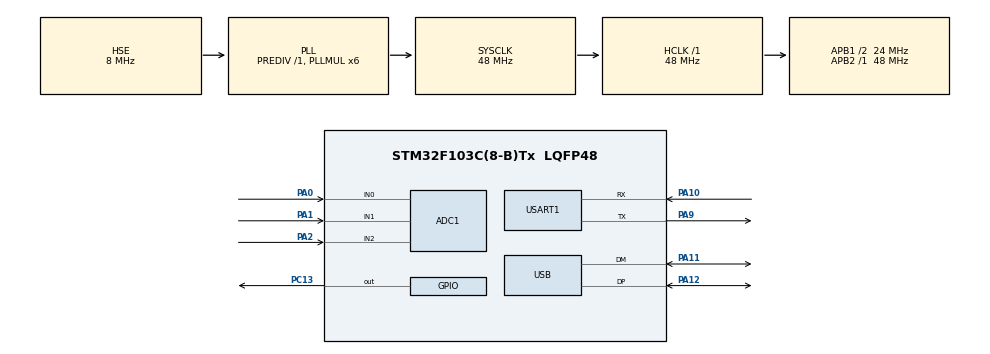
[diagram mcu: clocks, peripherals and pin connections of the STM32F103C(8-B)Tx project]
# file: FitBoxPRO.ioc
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ADC1.Channel-3\#ChannelRegularConversion=ADC_CHANNEL_0
ADC1.Channel-4\#ChannelRegularConversion=ADC_CHANNEL_1
ADC1.Channel-5\#ChannelRegularConversion=ADC_CHANNEL_2
ADC1.ContinuousConvMode=ENABLE
ADC1.EnableRegularConversion=ENABLE
ADC1.NbrOfConversion=3
ADC1.NbrOfConversionFlag=1
ADC1.Rank-3\#ChannelRegularConversion=1
ADC1.Rank-4\#ChannelRegularConversion=2
ADC1.Rank-5\#ChannelRegularConversion=3
ADC1.SamplingTime-3\#ChannelRegularConversion=ADC_SAMPLETIME_71CYCLES_5
ADC1.SamplingTime-4\#ChannelRegularConversion=ADC_SAMPLETIME_71CYCLES_5
ADC1.SamplingTime-5\#ChannelRegularConversion=ADC_SAMPLETIME_71CYCLES_5
ADC1.master=1
Dma.ADC1.0.Direction=DMA_PERIPH_TO_MEMORY
Dma.ADC1.0.Instance=DMA1_Channel1
Dma.ADC1.0.MemDataAlignment=DMA_MDATAALIGN_HALFWORD
Dma.ADC1.0.MemInc=DMA_MINC_ENABLE
Dma.ADC1.0.Mode=DMA_CIRCULAR
Dma.ADC1.0.PeriphDataAlignment=DMA_PDATAALIGN_HALFWORD
Dma.ADC1.0.PeriphInc=DMA_PINC_DISABLE
Dma.ADC1.0.Priority=DMA_PRIORITY_MEDIUM
Dma.Request0=ADC1
Mcu.Family=STM32F1
Mcu.Name=STM32F103C(8-B)Tx
Mcu.Package=LQFP48
NVIC.DMA1_Channel1_IRQn=true\:0\:0\:false\:false\:true\:false\:true\:true
NVIC.PriorityGroup=NVIC_PRIORITYGROUP_4
NVIC.USB_LP_CAN1_RX0_IRQn=true\:0\:0\:false\:false\:true\:false\:true\:true
PA0-WKUP.Signal=ADCx_IN0
PA1.Signal=ADCx_IN1
PA10.Mode=Asynchronous
PA10.Signal=USART1_RX
PA11.Mode=Device
PA11.Signal=USB_DM
PA12.Mode=Device
PA12.Signal=USB_DP
PA2.Signal=ADCx_IN2
PA9.Mode=Asynchronous
PA9.Signal=USART1_TX
PC13-TAMPER-RTC.Signal=GPIO_Output
PD0-OSC_IN.Mode=HSE-External-Oscillator
PD0-OSC_IN.Signal=RCC_OSC_IN
PD1-OSC_OUT.Mode=HSE-External-Oscillator
PD1-OSC_OUT.Signal=RCC_OSC_OUT
ProjectManager.HeapSize=0x200
ProjectManager.StackSize=0x400
ProjectManager.TargetToolchain=STM32CubeIDE
RCC.ADCPresc=RCC_ADCPCLK2_DIV4
RCC.AHBFreq_Value=48000000
RCC.APB1CLKDivider=RCC_HCLK_DIV2
RCC.APB1Freq_Value=24000000
RCC.APB1TimFreq_Value=48000000
RCC.APB2Freq_Value=48000000
RCC.APB2TimFreq_Value=48000000
RCC.HCLKFreq_Value=48000000
RCC.PLLMUL=RCC_PLL_MUL6
RCC.SYSCLKFreq_VALUE=48000000
RCC.SYSCLKSource=RCC_SYSCLKSOURCE_PLLCLK
RCC.USBFreq_Value=48000000
SH.ADCx_IN0.0=ADC1_IN0,IN0
SH.ADCx_IN1.0=ADC1_IN1,IN1
SH.ADCx_IN2.0=ADC1_IN2,IN2
USART1.VirtualMode=VM_ASYNC
USB_DEVICE.CLASS_NAME_FS=CUSTOM_HID
USB_DEVICE.CONFIGURATION_STRING_CUSTOMHID_FS=FitBoxPRO
USB_DEVICE.INTERFACE_STRING_CUSTOMHID_FS=FitBox Interface
USB_DEVICE.MANUFACTURER_STRING=Cristian Ritter
USB_DEVICE.PID_CUSTOMHID_FS=54345
USB_DEVICE.PRODUCT_STRING_CUSTOMHID_FS=FitBox PRO by Rake
USB_DEVICE.VID=65456
USB_DEVICE.VirtualMode=CustomHid
USB_DEVICE.VirtualModeFS=Custom_Hid_FS
VP_USB_DEVICE_VS_USB_DEVICE_CUSTOM_HID_FS.Mode=CUSTOM_HID_FS
board=custom

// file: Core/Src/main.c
/* USER CODE BEGIN Header */
/**
  ******************************************************************************
  * @file           : main.c
  * @brief          : Main program body
  ******************************************************************************
  * @attention
  *
  * Copyright (c) 2022 STMicroelectronics.
  * All rights reserved.
  *
  * This software is licensed under terms that can be found in the LICENSE file
  * in the root directory of this software component.
  * If no LICENSE file comes with this software, it is provided AS-IS.
  *
  ******************************************************************************
  */
/* USER CODE END Header */
#include "main.h"
#include "usb_device.h"

/* USER CODE BEGIN Includes */
#include "string.h"
#include "stdio.h"
#include "stdlib.h"
/* USER CODE END Includes */

/* USER CODE BEGIN PD */
#define FLASH_STORAGE 0x08019000
#define page_size 0x400

/* USER CODE END PD */

ADC_HandleTypeDef hadc1;
DMA_HandleTypeDef hdma_adc1;
UART_HandleTypeDef huart1;

void SystemClock_Config(void);
static void MX_GPIO_Init(void);
static void MX_DMA_Init(void);
static void MX_ADC1_Init(void);
static void MX_USART1_UART_Init(void);

/* USER CODE BEGIN 0 */

void read_flash(uint8_t* data)
{
	volatile uint32_t read_data;
	volatile uint32_t read_cnt=0;
	do
	{
		read_data = *(uint32_t*)(FLASH_STORAGE + read_cnt);
		if(read_data != 0xFFFFFFFF)
		{
			data[read_cnt] = (uint8_t)read_data;
			data[read_cnt + 1] = (uint8_t)(read_data >> 8);
			data[read_cnt + 2] = (uint8_t)(read_data >> 16);
			data[read_cnt + 3] = (uint8_t)(read_data >> 24);
			read_cnt += 4;
		}
	}while(read_data != 0xFFFFFFFF);
}

extern USBD_HandleTypeDef hUsbDeviceFS;

typedef struct
{
	uint8_t rx_8lsb; // lsb 8 bits rx
	uint8_t ry_4lsb_rx_4msb; // msb 4 bits rx + lsb 4 bits ry
	uint8_t ry_8msb; // 8 bits msb ry
	uint8_t rz_8lsb; // 8 bits lsb_rz
	uint8_t rz_4msb; // 4 bits msb rx
	uint8_t dummy_bits0 ;
	uint8_t dummy_bits1 ;
	uint8_t dummy_bits2 ;
} joystickHID;

joystickHID joystickhid = {0, 0, 0, 0, 0, 0, 0, 0};				// struct que contém os dados do hid é enviada pela usb

uint16_t ADCValue[3] = {0, 0, 0};			//Valor da leitura dos ADCs que é atualizada por uma DMA automaticamente

uint8_t updating = 0;
uint8_t calibracao = 0;

uint16_t range_x_data[3][6] = { 		// array de pontos em x para interpolacao do valor de saida com base nos limites min e max
		{0, 200, 400, 600, 800, 1000},
		{0, 200, 400, 600, 800, 1000},
		{0, 200, 400, 600, 800, 1000}
		};

uint16_t sliders_data[3][6] = {
		{0, 200, 400, 600, 800, 1000},
		{0, 200, 400, 600, 800, 1000},
		{0, 200, 400, 600, 800, 1000}
		};

uint8_t inverter_config[3] = {0, 0, 0};

void update_data_from_flash(uint16_t (*sliders_data)[6], uint16_t (*range_x_data)[6], uint8_t (*inverter_config)){
	char data[0xC0];
	read_flash((uint8_t *)data);
    char * token = strtok(data,",");				//first strtok go to variable directly
    sliders_data[0][0] = atoi(token)*10;

    for (int i=1; i<6; i++){						// fills first array of range_x for first pedal
    	token = strtok(NULL,",");
    	sliders_data[0][i] = atoi(token)*10;
    }

	for (int i=0; i<6; i++){						// until all arrays be full filled for first pedal
		token = strtok(NULL,",");
		range_x_data[0][i] = atoi(token)*10;
	}

	token = strtok(NULL,",");						// inverted for first pedal
	inverter_config[0] = atoi(token);

	for (int i=0; i<6; i++){						// until all arrays be full filled
		token = strtok(NULL,",");
		sliders_data[1][i] = atoi(token)*10;
	}

	for (int i=0; i<6; i++){						// until all arrays be full filled
		token = strtok(NULL,",");
		range_x_data[1][i] = atoi(token)*10;
	}

	token = strtok(NULL,",");						// inverted for second pedal
	inverter_config[1] = atoi(token);

	for (int i=0; i<6; i++){						// until all arrays be full filled
		token = strtok(NULL,",");
		sliders_data[2][i] = atoi(token)*10;
	}

	for (int i=0; i<6; i++){						// until all arrays be full filled
		token = strtok(NULL,",");
		range_x_data[2][i] = atoi(token)*10;
	}

	token = strtok(NULL,",");						// inverted for third pedal
	inverter_config[2] = atoi(token);

}

float interpolacao_linear(double x, uint16_t x0, uint16_t y0, uint16_t x1, uint16_t y1){
	//"""Realiza a interpolação de x sobre uma reta dada por [(x0,y0),(x1,y1)] e retorna o valor em y"""
	double y;
//	x = x*100;
	y = (double)y0 + ( (double)y1 - (double)y0 ) * ( x-(double)x0 ) / ( (double)x1-(double)x0 );
//	y = y/100;
	return y;
}

uint16_t * ret_x0_y0_x1_y1(double x, uint16_t * x_array, uint16_t * y_array){
	// """Com base em uma lista de pontos [(x0,y0), (x1,y1)... (xn,yn)]
    //a funcao retorna o conjunto de pontos [(xa,ya),(xb,yb)] que formam uma reta
    //na qual o ponto x possa ser interpolado.\n
    //Os pontos precisam estar alistados em ordem crescente, e as listas de x e y precisam ter o mesmo tamanho."""
	static uint16_t x0y0x1y1array[4] = {0, 0, 0, 0};

	for (int i=0; i<6; i++){
		if (x < (double)x_array[i]){
			x0y0x1y1array[0] = x_array[i-1];
			x0y0x1y1array[1] = y_array[i-1];
			x0y0x1y1array[2] = x_array[i];
			x0y0x1y1array[3] = y_array[i];
			break;
		}
	}
	return x0y0x1y1array;
}

uint16_t* set_output(uint16_t * valor_entrada, uint16_t (*sliders_data)[6], uint16_t (*range_x_data)[6], uint8_t * inverter_config){
	//"""Método que calcula e atualiza o valor de saída de acordo com o valor da entrada"""

	static uint16_t valor_saida[3] = {0, 0, 0};
	double entrada_invertida[3] = {0, 0, 0};        //alterei pra usar menor memoria

	for (int i=0; i<3; i++){
		entrada_invertida[i] = (valor_entrada[i]*1000)/4095;		//converte o valor de entrada de 12bits para um range de 0,0 a 100,0

		if (inverter_config[i] == 1){
			entrada_invertida[i] = 1000 - entrada_invertida[i];		// inverte a entrada caso o bit de inversao esteja ligado
		}
//		char buffer[12];
//		HAL_UART_Transmit(&huart1, (uint8_t*) buffer, sprintf(buffer, "%u ", (uint16_t)entrada_invertida[i]), 100);
//		HAL_UART_Transmit(&huart1, (uint8_t*) buffer, sprintf(buffer, "%u ", range_x_data[i][0]), 100);

		if (calibracao){
			sliders_data[i][0] = 0;
			sliders_data[i][1] = 200;
			sliders_data[i][2] = 400;
			sliders_data[i][3] = 600;
			sliders_data[i][4] = 800;
			sliders_data[i][5] = 1000;
			range_x_data[i][0] = 0;
			range_x_data[i][1] = 200;
			range_x_data[i][2] = 400;
			range_x_data[i][3] = 600;
			range_x_data[i][4] = 800;
			range_x_data[i][5] = 1000;
		}

		if ((uint16_t)entrada_invertida[i] <= range_x_data[i][0]){			// caso entrada esteja abaixa da calibracao minima
			valor_saida[i] = sliders_data[i][0];
		}
		else if ((uint16_t)entrada_invertida[i] >= range_x_data[i][5]){			// caso a entrada esteja acima da calibracao maxima
			valor_saida[i] = sliders_data[i][5];
		}
		else{
			uint16_t * x0y0x1y1_list = ret_x0_y0_x1_y1(entrada_invertida[i], range_x_data[i], sliders_data[i]);
			valor_saida[i] = interpolacao_linear(entrada_invertida[i], x0y0x1y1_list[0], x0y0x1y1_list[1], x0y0x1y1_list[2], x0y0x1y1_list[3]);
		}
		valor_saida[i] = (valor_saida[i]*4095)/1000;         //transforma o valor de saida de 0-100 em 12 bits
//		char buffer[8];
//	    HAL_UART_Transmit(&huart1, (uint8_t*) buffer, sprintf(buffer, "%u ", valor_saida[0]), 100);
	}
	return valor_saida;
}

/* USER CODE END 0 */

int main(void)
{

  /* MCU Configuration--------------------------------------------------------*/

  /* Reset of all peripherals, Initializes the Flash interface and the Systick. */
  HAL_Init();

  /* Configure the system clock */
  SystemClock_Config();

  /* Initialize all configured peripherals */
  MX_GPIO_Init();
  MX_DMA_Init();
  MX_ADC1_Init();
  MX_USB_DEVICE_Init();
  MX_USART1_UART_Init();
  /* USER CODE BEGIN 2 */
  HAL_ADC_Start_DMA(&hadc1, (uint32_t*)ADCValue, 3);
  update_data_from_flash(sliders_data, range_x_data, inverter_config);
  /* USER CODE END 2 */

  /* Infinite loop */
  /* USER CODE BEGIN WHILE */
  while (1)
  {
	  if (updating){
		  updating = 0;
		  update_data_from_flash(sliders_data, range_x_data, inverter_config);
	  }
	  uint16_t * OutputValue = set_output(ADCValue, sliders_data, range_x_data, inverter_config);
	  joystickhid.rx_8lsb = (OutputValue[0]);
	  joystickhid.ry_4lsb_rx_4msb = ((OutputValue[1] & 0xf) << 4 | OutputValue[0] >> 8);
	  joystickhid.ry_8msb = OutputValue[1] >> 4;
	  joystickhid.rz_8lsb = OutputValue[2];
	  joystickhid.rz_4msb = OutputValue[2] >> 8;
//  	  uint8_t Test[] = "Fim\r\n"; //Data to send
//  	  HAL_UART_Transmit(&huart1,Test,sizeof(Test),10);// Sending in normal mode
	  USBD_CUSTOM_HID_SendReport(&hUsbDeviceFS, &joystickhid, sizeof(joystickhid));
	  HAL_Delay(1);

    /* USER CODE END WHILE */

    /* USER CODE BEGIN 3 */

//	  HAL_UART_Transmit(&huart1, (uint8_t*) buffer, sprintf(buffer, "%u ", ADCValue[0]), 100);
//	  HAL_UART_Transmit(&huart1, (uint8_t*) buffer, sprintf(buffer, "%u ", OutputValue[0]), 100);

//	  uint8_t Test2[] = "\r\n Valores fim !!!\r\n"; //Data to send
//	  HAL_UART_Transmit(&huart1,Test2,sizeof(Test),10);// Sending in normal mode

  }
  /* USER CODE END 3 */
}

void SystemClock_Config(void)
{
  RCC_OscInitTypeDef RCC_OscInitStruct = {0};
  RCC_ClkInitTypeDef RCC_ClkInitStruct = {0};
  RCC_PeriphCLKInitTypeDef PeriphClkInit = {0};

  /** Initializes the RCC Oscillators according to the specified parameters
  * in the RCC_OscInitTypeDef structure.
  */
  RCC_OscInitStruct.OscillatorType = RCC_OSCILLATORTYPE_HSE;
  RCC_OscInitStruct.HSEState = RCC_HSE_ON;
  RCC_OscInitStruct.HSEPredivValue = RCC_HSE_PREDIV_DIV1;
  RCC_OscInitStruct.HSIState = RCC_HSI_ON;
  RCC_OscInitStruct.PLL.PLLState = RCC_PLL_ON;
  RCC_OscInitStruct.PLL.PLLSource = RCC_PLLSOURCE_HSE;
  RCC_OscInitStruct.PLL.PLLMUL = RCC_PLL_MUL6;
  if (HAL_RCC_OscConfig(&RCC_OscInitStruct) != HAL_OK)
  {
    Error_Handler();
  }

  /** Initializes the CPU, AHB and APB buses clocks
  */
  RCC_ClkInitStruct.ClockType = RCC_CLOCKTYPE_HCLK|RCC_CLOCKTYPE_SYSCLK
                              |RCC_CLOCKTYPE_PCLK1|RCC_CLOCKTYPE_PCLK2;
  RCC_ClkInitStruct.SYSCLKSource = RCC_SYSCLKSOURCE_PLLCLK;
  RCC_ClkInitStruct.AHBCLKDivider = RCC_SYSCLK_DIV1;
  RCC_ClkInitStruct.APB1CLKDivider = RCC_HCLK_DIV2;
  RCC_ClkInitStruct.APB2CLKDivider = RCC_HCLK_DIV1;

  if (HAL_RCC_ClockConfig(&RCC_ClkInitStruct, FLASH_LATENCY_1) != HAL_OK)
  {
    Error_Handler();
  }
  PeriphClkInit.PeriphClockSelection = RCC_PERIPHCLK_ADC|RCC_PERIPHCLK_USB;
  PeriphClkInit.AdcClockSelection = RCC_ADCPCLK2_DIV4;
  PeriphClkInit.UsbClockSelection = RCC_USBCLKSOURCE_PLL;
  if (HAL_RCCEx_PeriphCLKConfig(&PeriphClkInit) != HAL_OK)
  {
    Error_Handler();
  }
}

static void MX_ADC1_Init(void)
{

  ADC_ChannelConfTypeDef sConfig = {0};

  /** Common config
  */
  hadc1.Instance = ADC1;
  hadc1.Init.ScanConvMode = ADC_SCAN_ENABLE;
  hadc1.Init.ContinuousConvMode = ENABLE;
  hadc1.Init.DiscontinuousConvMode = DISABLE;
  hadc1.Init.ExternalTrigConv = ADC_SOFTWARE_START;
  hadc1.Init.DataAlign = ADC_DATAALIGN_RIGHT;
  hadc1.Init.NbrOfConversion = 3;
  if (HAL_ADC_Init(&hadc1) != HAL_OK)
  {
    Error_Handler();
  }

  /** Configure Regular Channel
  */
  sConfig.Channel = ADC_CHANNEL_0;
  sConfig.Rank = ADC_REGULAR_RANK_1;
  sConfig.SamplingTime = ADC_SAMPLETIME_71CYCLES_5;
  if (HAL_ADC_ConfigChannel(&hadc1, &sConfig) != HAL_OK)
  {
    Error_Handler();
  }

  /** Configure Regular Channel
  */
  sConfig.Channel = ADC_CHANNEL_1;
  sConfig.Rank = ADC_REGULAR_RANK_2;
  if (HAL_ADC_ConfigChannel(&hadc1, &sConfig) != HAL_OK)
  {
    Error_Handler();
  }

  /** Configure Regular Channel
  */
  sConfig.Channel = ADC_CHANNEL_2;
  sConfig.Rank = ADC_REGULAR_RANK_3;
  if (HAL_ADC_ConfigChannel(&hadc1, &sConfig) != HAL_OK)
  {
    Error_Handler();
  }

}

static void MX_USART1_UART_Init(void)
{

  huart1.Instance = USART1;
  huart1.Init.BaudRate = 115200;
  huart1.Init.WordLength = UART_WORDLENGTH_8B;
  huart1.Init.StopBits = UART_STOPBITS_1;
  huart1.Init.Parity = UART_PARITY_NONE;
  huart1.Init.Mode = UART_MODE_TX_RX;
  huart1.Init.HwFlowCtl = UART_HWCONTROL_NONE;
  huart1.Init.OverSampling = UART_OVERSAMPLING_16;
  if (HAL_UART_Init(&huart1) != HAL_OK)
  {
    Error_Handler();
  }

}

static void MX_DMA_Init(void)
{

  /* DMA controller clock enable */
  __HAL_RCC_DMA1_CLK_ENABLE();

  /* DMA interrupt init */
  /* DMA1_Channel1_IRQn interrupt configuration */
  HAL_NVIC_SetPriority(DMA1_Channel1_IRQn, 0, 0);
  HAL_NVIC_EnableIRQ(DMA1_Channel1_IRQn);

}

static void MX_GPIO_Init(void)
{
  GPIO_InitTypeDef GPIO_InitStruct = {0};

  /* GPIO Ports Clock Enable */
  __HAL_RCC_GPIOC_CLK_ENABLE();
  __HAL_RCC_GPIOD_CLK_ENABLE();
  __HAL_RCC_GPIOA_CLK_ENABLE();

  /*Configure GPIO pin Output Level */
  HAL_GPIO_WritePin(GPIOC, GPIO_PIN_13, GPIO_PIN_RESET);

  /*Configure GPIO pin : PC13 */
  GPIO_InitStruct.Pin = GPIO_PIN_13;
  GPIO_InitStruct.Mode = GPIO_MODE_OUTPUT_PP;
  GPIO_InitStruct.Pull = GPIO_NOPULL;
  GPIO_InitStruct.Speed = GPIO_SPEED_FREQ_LOW;
  HAL_GPIO_Init(GPIOC, &GPIO_InitStruct);

}

void Error_Handler(void)
{
  __disable_irq();
  while (1)
  {
  }
}
